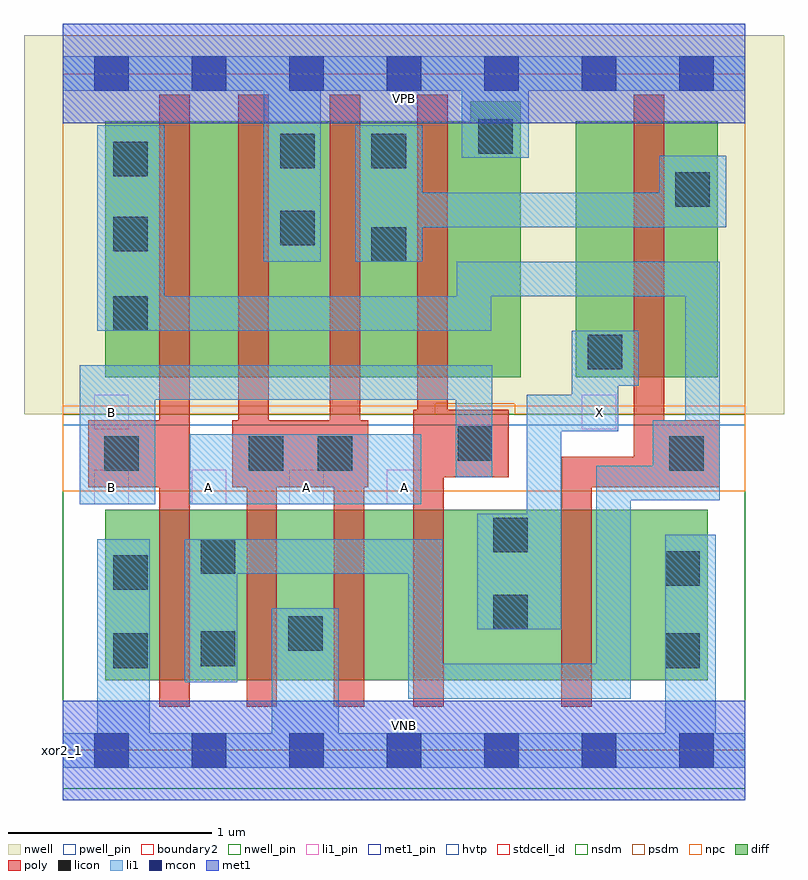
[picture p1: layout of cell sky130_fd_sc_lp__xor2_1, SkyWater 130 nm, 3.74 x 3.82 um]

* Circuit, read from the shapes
.subckt sky130_fd_sc_lp__xor2_1 A B VGND VNB VPB VPWR X
XM1 n1 B VGND VNB sky130_fd_pr__nfet_01v8 w=0.84 l=0.15
XM2 VGND A n1 VNB sky130_fd_pr__nfet_01v8 w=0.84 l=0.15
XM3 n2 A VGND VNB sky130_fd_pr__nfet_01v8 w=0.84 l=0.15
XM4 X B n2 VNB sky130_fd_pr__nfet_01v8 w=0.84 l=0.15
XM5 VGND n1 X VNB sky130_fd_pr__nfet_01v8 w=0.84 l=0.15
XM6 n3 B n1 VPB sky130_fd_pr__pfet_01v8_hvt w=1.26 l=0.15
XM7 VPWR A n3 VPB sky130_fd_pr__pfet_01v8_hvt w=1.26 l=0.15
XM8 n4 A VPWR VPB sky130_fd_pr__pfet_01v8_hvt w=1.26 l=0.15
XM9 VPWR B n4 VPB sky130_fd_pr__pfet_01v8_hvt w=1.26 l=0.15
XM10 n4 n1 X VPB sky130_fd_pr__pfet_01v8_hvt w=1.26 l=0.15
.ends

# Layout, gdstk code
import gdstk
lib = gdstk.Library(unit=1e-6, precision=1e-09)
def R(c, l, rs):  # rectangles x0, y0, x1, y1
    for r in rs: c.add(gdstk.rectangle(r[:2], r[2:], *l))
def A(c, l, x, y, w, h, nx, ny, dx, dy):  # array of equal rectangles
    R(c, l, [(x+i*dx, y+j*dy, x+i*dx+w, y+j*dy+h) for i in range(nx) for j in range(ny)])
def P(c, l, *ps):  # polygons
    for p in ps: c.add(gdstk.Polygon(p, *l))
nwell_pin = (64, 16)
nwell = (64, 20)
diff = (65, 20)
poly = (66, 20)
licon = (66, 44)
li1_pin = (67, 16)
li1 = (67, 20)
mcon = (67, 44)
met1_pin = (68, 16)
met1 = (68, 20)
hvtp = (78, 44)
stdcell_id = (81, 4)
nsdm = (93, 44)
psdm = (94, 20)
npc = (95, 20)
pwell_pin = (122, 16)
boundary2 = (236, 0)

sky130_fd_sc_lp__xor2_1 = lib.new_cell('sky130_fd_sc_lp__xor2_1')
R(sky130_fd_sc_lp__xor2_1, nwell_pin, [(0,3.085,3.36,3.33)])
R(sky130_fd_sc_lp__xor2_1, nwell, [(-0.19,1.655,3.55,3.52)])
R(sky130_fd_sc_lp__xor2_1, diff, [(0.21,0.345,3.175,1.185), (2.525,1.835,3.225,3.095)])
P(sky130_fd_sc_lp__xor2_1, diff, [(2.255,3.195),(2.005,3.195),(2.005,3.095),(0.21,3.095),(0.21,1.835),(2.255,1.835)])
P(sky130_fd_sc_lp__xor2_1, poly, [(0.625,3.225),(0.475,3.225),(0.475,1.625),(0.125,1.625),(0.125,1.295),(0.475,1.295),(0.475,0.215),(0.625,0.215)],
  [(1.505,1.625),(1.465,1.625),(1.465,3.225),(1.315,3.225),(1.315,1.625),(1.015,1.625),(1.015,3.225),(0.865,3.225),(0.865,1.625),(0.835,1.625),(0.835,1.295),(0.905,1.295),(0.905,0.215),(1.055,0.215),(1.055,1.295),(1.335,1.295),(1.335,0.215),(1.485,0.215),(1.485,1.295),(1.505,1.295)],
  [(2.195,1.675),(1.895,1.675),(1.895,3.225),(1.745,3.225),(1.745,1.675),(1.725,1.675),(1.725,0.215),(1.875,0.215),(1.875,1.345),(2.195,1.345)],
  [(3.235,1.625),(2.96,1.625),(2.96,3.225),(2.81,3.225),(2.81,1.445),(2.455,1.445),(2.455,0.215),(2.605,0.215),(2.605,1.295),(3.235,1.295)])
R(sky130_fd_sc_lp__xor2_1, licon, [(0.25,0.405,0.42,0.575), (2.965,0.405,3.135,0.575), (0.68,0.415,0.85,0.585), (1.11,0.49,1.28,0.66), (2.12,0.595,2.29,0.765), (0.25,0.79,0.42,0.96), (2.965,0.81,3.135,0.98), (0.68,0.87,0.85,1.04), (2.12,0.975,2.29,1.145), (0.205,1.375,0.375,1.545), (0.915,1.375,1.085,1.545), (1.255,1.375,1.425,1.545), (2.985,1.375,3.155,1.545), (1.945,1.425,2.115,1.595), (2.585,1.875,2.755,2.045), (0.25,2.065,0.42,2.235), (1.52,2.405,1.69,2.575), (0.25,2.455,0.42,2.625), (1.07,2.485,1.24,2.655), (3.015,2.675,3.185,2.845), (0.25,2.825,0.42,2.995), (1.07,2.865,1.24,3.035), (1.52,2.865,1.69,3.035), (2.045,2.935,2.215,3.105)])
A(sky130_fd_sc_lp__xor2_1, li1_pin, 0.155, 1.21, 0.17, 0.17, 4, 1, 0.48, 0)
R(sky130_fd_sc_lp__xor2_1, li1_pin, [(0.155,1.58,0.325,1.75), (2.555,1.58,2.725,1.75)])
R(sky130_fd_sc_lp__xor2_1, li1, [(0.625,1.21,1.765,1.555)])
P(sky130_fd_sc_lp__xor2_1, li1, [(0.99,2.405),(0.99,3.245),(0,3.245),(0,3.415),(3.36,3.415),(3.36,3.245),(2.295,3.245),(2.295,2.915),(1.965,2.915),(1.965,3.245),(1.27,3.245),(1.27,2.405)],
  [(2.965,0.085),(2.965,1.06),(3.215,1.06),(3.215,0.085),(3.36,0.085),(3.36,-0.085),(0,-0.085),(0,0.085),(0.17,0.085),(0.17,1.04),(0.43,1.04),(0.43,0.085),(1.03,0.085),(1.03,0.7),(1.36,0.7),(1.36,0.085)],
  [(1.87,1.04),(1.87,0.425),(2.625,0.425),(2.625,1.4),(2.905,1.4),(2.905,1.625),(3.065,1.625),(3.065,2.235),(2.11,2.235),(2.11,2.065),(0.17,2.065),(0.17,3.075),(0.5,3.075),(0.5,2.235),(1.94,2.235),(1.94,2.405),(3.235,2.405),(3.235,1.23),(2.795,1.23),(2.795,0.255),(1.7,0.255),(1.7,0.87),(0.86,0.87),(0.86,0.335),(0.6,0.335),(0.6,1.04)],
  [(2.115,1.895),(2.115,1.345),(1.935,1.345),(1.935,1.725),(0.455,1.725),(0.455,1.21),(0.085,1.21),(0.085,1.895)],
  [(1.77,2.745),(2.935,2.745),(2.935,2.925),(3.265,2.925),(3.265,2.575),(1.77,2.575),(1.77,2.405),(1.44,2.405),(1.44,3.075),(1.77,3.075)],
  [(2.835,2.065),(2.505,2.065),(2.505,1.75),(2.285,1.75),(2.285,1.165),(2.04,1.165),(2.04,0.595),(2.455,0.595),(2.455,1.57),(2.735,1.57),(2.735,1.795),(2.835,1.795)])
A(sky130_fd_sc_lp__xor2_1, mcon, 0.155, -0.085, 0.17, 0.17, 7, 2, 0.48, 3.33)
R(sky130_fd_sc_lp__xor2_1, met1_pin, [(0,0,3.36,0.245), (0,3.085,3.36,3.33)])
R(sky130_fd_sc_lp__xor2_1, met1, [(0,-0.245,3.36,0.245), (0,3.085,3.36,3.575)])
R(sky130_fd_sc_lp__xor2_1, hvtp, [(0,1.6,3.36,3.33)])
R(sky130_fd_sc_lp__xor2_1, stdcell_id, [(0,0,3.36,3.33)])
R(sky130_fd_sc_lp__xor2_1, nsdm, [(0,-0.19,3.36,1.655)])
P(sky130_fd_sc_lp__xor2_1, psdm, [(3.36,3.52),(0,3.52),(0,1.655),(1.835,1.655),(1.835,1.705),(2.225,1.705),(2.225,1.655),(3.36,1.655)])
R(sky130_fd_sc_lp__xor2_1, npc, [(0,1.275,3.36,1.695)])
R(sky130_fd_sc_lp__xor2_1, pwell_pin, [(0,0,3.36,0.245)])
R(sky130_fd_sc_lp__xor2_1, boundary2, [(0,0,3.36,3.33)])
sky130_fd_sc_lp__xor2_1.add(gdstk.Label('VNB', (1.68,0.123), layer=64, texttype=59))
sky130_fd_sc_lp__xor2_1.add(gdstk.Label('VPB', (1.68,3.208), layer=64, texttype=5))
sky130_fd_sc_lp__xor2_1.add(gdstk.Label('xor2_1', (0,0), layer=83, texttype=44))
sky130_fd_sc_lp__xor2_1.add(gdstk.Label('VPWR', (1.68,3.208), layer=68, texttype=5))
sky130_fd_sc_lp__xor2_1.add(gdstk.Label('VGND', (1.68,0.123), layer=68, texttype=5))
sky130_fd_sc_lp__xor2_1.add(gdstk.Label('A', (0.72,1.295), layer=67, texttype=5))
sky130_fd_sc_lp__xor2_1.add(gdstk.Label('A', (1.2,1.295), layer=67, texttype=5))
sky130_fd_sc_lp__xor2_1.add(gdstk.Label('A', (1.68,1.295), layer=67, texttype=5))
sky130_fd_sc_lp__xor2_1.add(gdstk.Label('B', (0.24,1.295), layer=67, texttype=5))
sky130_fd_sc_lp__xor2_1.add(gdstk.Label('B', (0.24,1.665), layer=67, texttype=5))
sky130_fd_sc_lp__xor2_1.add(gdstk.Label('X', (2.64,1.665), layer=67, texttype=5))

lib.write_gds('sky130_fd_sc_lp__xor2_1.gds')
